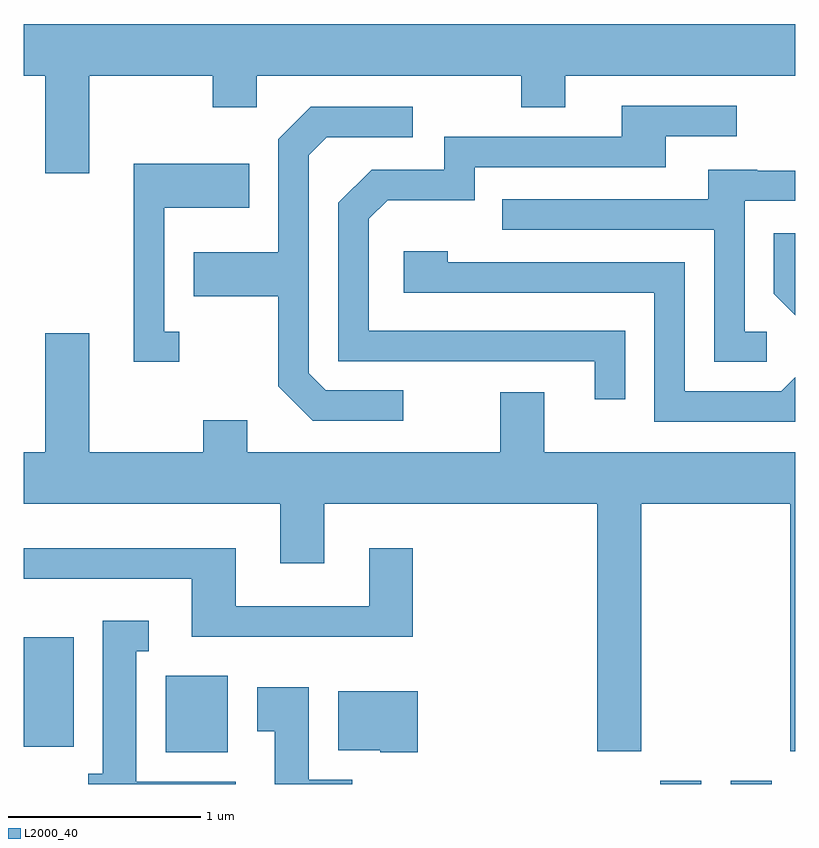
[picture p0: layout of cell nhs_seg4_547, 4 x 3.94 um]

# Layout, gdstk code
import gdstk
lib = gdstk.Library(unit=1e-6, precision=1e-09)
def R(c, l, rs):  # rectangles x0, y0, x1, y1
    for r in rs: c.add(gdstk.rectangle(r[:2], r[2:], *l))
def P(c, l, *ps):  # polygons
    for p in ps: c.add(gdstk.Polygon(p, *l))
L2000_40 = (2000, 40)

nhs_seg4_547 = lib.new_cell('nhs_seg4_547')
R(nhs_seg4_547, L2000_40, [(204.911,1259.982,205.124,1259.999), (205.276,1259.982,205.489,1259.999), (202.346,1260.146,202.669,1260.544), (201.611,1260.176,201.869,1260.744)])
P(nhs_seg4_547, L2000_40, [(201.949,1263.656),(202.591,1263.656),(202.591,1263.491),(202.819,1263.491),(202.819,1263.656),(204.191,1263.656),(204.191,1263.491),(204.419,1263.491),(204.419,1263.656),(205.611,1263.656),(205.611,1263.924),(201.611,1263.924),(201.611,1263.656),(201.721,1263.656),(201.721,1263.151),(201.949,1263.151)],
  [(204.729,1262.334),(203.399,1262.334),(203.399,1262.914),(203.497,1263.011),(203.949,1263.011),(203.949,1263.181),(204.939,1263.181),(204.939,1263.341),(205.308,1263.341),(205.308,1263.499),(204.711,1263.499),(204.711,1263.339),(203.791,1263.339),(203.791,1263.169),(203.414,1263.169),(203.241,1262.997),(203.241,1262.176),(204.571,1262.176),(204.571,1261.978),(204.729,1261.978)],
  [(203.578,1262.024),(203.177,1262.024),(203.089,1262.112),(203.089,1263.244),(203.182,1263.336),(203.628,1263.336),(203.628,1263.494),(203.099,1263.494),(202.931,1263.327),(202.931,1262.739),(202.491,1262.739),(202.491,1262.511),(202.931,1262.511),(202.931,1262.044),(203.109,1261.866),(203.578,1261.866)],
  [(202.418,1262.329),(202.339,1262.329),(202.339,1262.971),(202.779,1262.971),(202.779,1263.199),(202.181,1263.199),(202.181,1262.171),(202.418,1262.171)],
  [(205.463,1262.329),(205.349,1262.329),(205.349,1263.006),(205.611,1263.006),(205.611,1263.164),(205.415,1263.164),(205.415,1263.169),(205.161,1263.169),(205.161,1263.014),(204.093,1263.014),(204.093,1262.856),(205.191,1262.856),(205.191,1262.171),(205.463,1262.171)],
  [(205.611,1262.838),(205.501,1262.838),(205.501,1262.524),(205.611,1262.414)],
  [(205.611,1262.091),(205.539,1262.019),(205.039,1262.019),(205.039,1262.689),(203.809,1262.689),(203.809,1262.744),(203.581,1262.744),(203.581,1262.531),(204.881,1262.531),(204.881,1261.861),(205.611,1261.861)],
  [(204.814,1261.436),(205.586,1261.436),(205.586,1260.151),(205.611,1260.151),(205.611,1261.704),(204.309,1261.704),(204.309,1262.014),(204.081,1262.014),(204.081,1261.704),(202.769,1261.704),(202.769,1261.869),(202.541,1261.869),(202.541,1261.704),(201.949,1261.704),(201.949,1262.319),(201.721,1262.319),(201.721,1261.704),(201.611,1261.704),(201.611,1261.436),(202.941,1261.436),(202.941,1261.126),(203.169,1261.126),(203.169,1261.436),(204.586,1261.436),(204.586,1260.151),(204.814,1260.151)],
  [(203.629,1261.204),(203.401,1261.204),(203.401,1260.904),(202.709,1260.904),(202.709,1261.204),(201.611,1261.204),(201.611,1261.046),(202.481,1261.046),(202.481,1260.746),(203.629,1260.746)],
  [(202.709,1259.994),(202.194,1259.994),(202.194,1260.671),(202.258,1260.671),(202.258,1260.829),(202.021,1260.829),(202.021,1260.034),(201.946,1260.034),(201.946,1259.982),(202.709,1259.982)],
  [(203.314,1260.004),(203.089,1260.004),(203.089,1260.484),(202.821,1260.484),(202.821,1260.256),(202.911,1260.256),(202.911,1259.982),(203.314,1259.982)],
  [(203.654,1260.464),(203.241,1260.464),(203.241,1260.156),(203.46,1260.156),(203.46,1260.146),(203.654,1260.146)])

lib.write_gds('nhs_seg4_547.gds')
